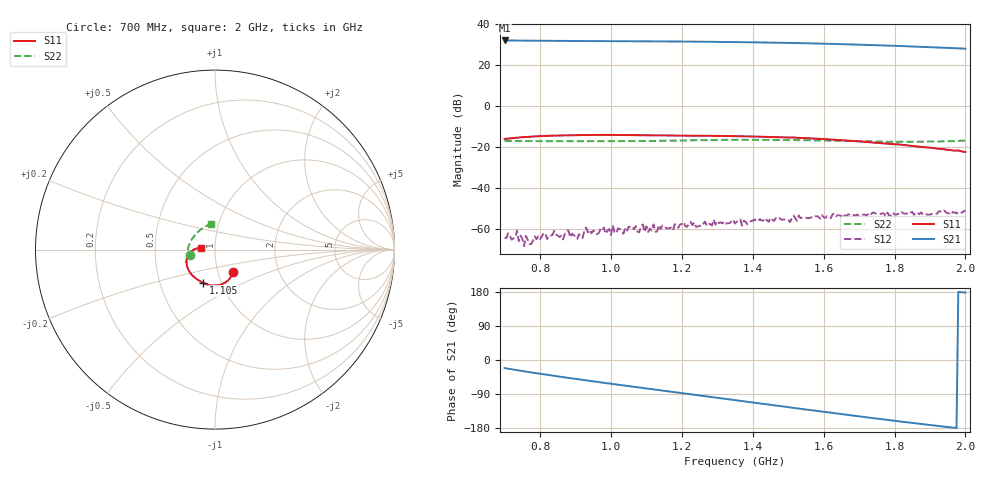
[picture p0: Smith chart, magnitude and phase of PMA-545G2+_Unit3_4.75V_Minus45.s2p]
!Mini-Circuits Laboratory
!S-Parameters
!Model: PMA-545G2+
!Run / Lot / Date Code: N/A / N/A / NA
!Fixture: NA; TEST BOARD: TB-607+
!AUTO PORT EXTENSION DONE: PORT<1>=120.99ps; PORT<2>=143.047ps
!Network Analyzer: PNA-X N5242A - 423 4 ports;  Serial number: 71256
!Date: 1/11/2011
!S/N: Unit# 3
# Hz  S  dB  R  50
!Frequency  S11 dB  S11 Deg  S21 dB  S21 Deg  S12 dB  S12 Deg  S22 dB  S22 Deg
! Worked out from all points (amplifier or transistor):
!   261 points, 700 MHz to 2 GHz, reference 50 ohm
!   highest |S21| = 32.2 dB at 700 MHz (marker M1)
!   |S21| within 3 dB of that: start of sweep to 1.857 GHz
!   unconditionally stable (mu >= 1): start of sweep to end of sweep
!   at 915 MHz: K = 18.14, MAG = 32.2 dB, |S12| = -63.6 dB
!   at 1.35 GHz: K = 9.27, MAG = 31.7 dB, |S12| = -57.3 dB
!   at 2 GHz: K = 6.53, MAG = 28.3 dB, |S12| = -50.7 dB
!   S11 on the Smith chart (normalised r, x): 700 MHz: 1.18, -0.30; 1.105 GHz: 0.82, -0.32; 2 GHz: 0.86, +0.02
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7e8  -15.93 -52.0  32.20 -21.3  -64.37 147.0  -16.94 -168.5
7.35e8  -15.31 -57.8  32.14 -26.8  -60.83 122.6  -16.92 -167.9
7.55e8  -15.06 -60.8  32.11 -29.8  -68.34 100.8  -16.96 -167.9
8.1e8  -14.49 -68.9  32.03 -37.7  -62.00 131.9  -16.99 -167.4
8.7e8  -14.16 -77.6  31.97 -45.9  -62.12 121.2  -17.04 -167.3
9.2e8  -14.04 -84.5  31.91 -52.5  -64.37 134.9  -17.04 -167.2
1.01e9  -13.96 -96.6  31.84 -63.9  -61.45 124.0  -17.00 -166.7
1.105e9  -14.15 -109.3  31.76 -75.8  -61.41 108.2  -16.94 -167.3
1.135e9  -14.18 -113.5  31.74 -79.4  -58.03 122.0  -16.88 -167.2
1.19e9  -14.30 -121.4  31.68 -86.3  -59.38 121.1  -16.73 -168.7
1.245e9  -14.35 -128.7  31.61 -93.1  -58.76 121.3  -16.55 -169.9
1.3e9  -14.44 -135.5  31.51 -99.9  -56.03 116.1  -16.37 -171.5
1.35e9  -14.57 -141.1  31.41 -106.0  -57.28 120.6  -16.34 -173.2
1.445e9  -14.95 -151.2  31.18 -117.7  -56.44 110.3  -16.39 -178.0
1.515e9  -15.21 -158.1  30.98 -126.4  -53.33 113.2  -16.46 176.5
1.57e9  -15.72 -162.9  30.76 -133.1  -54.60 103.0  -16.62 170.6
1.615e9  -16.16 -166.5  30.57 -138.6  -53.95 96.9  -16.75 165.3
1.68e9  -16.93 -171.4  30.25 -146.4  -52.61 99.3  -16.97 156.8
1.725e9  -17.47 -174.9  30.01 -151.7  -52.84 95.2  -17.12 149.9
1.785e9  -18.32 -178.4  29.66 -158.6  -53.32 94.5  -17.32 139.6
1.88e9  -19.86 176.5  29.05 -169.3  -52.61 88.9  -17.26 122.4
2e9  -22.29 173.3  28.19 177.8  -50.71 82.1  -16.78 99.1
